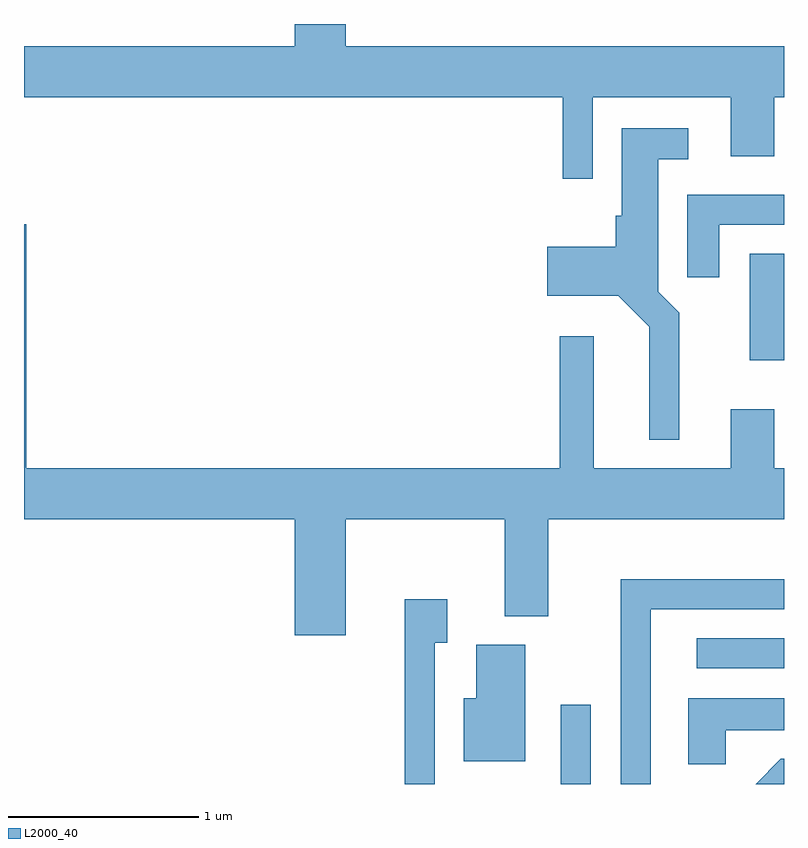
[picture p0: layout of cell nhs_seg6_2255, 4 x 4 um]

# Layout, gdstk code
import gdstk
lib = gdstk.Library(unit=1e-6, precision=1e-09)
def R(c, l, rs):  # rectangles x0, y0, x1, y1
    for r in rs: c.add(gdstk.rectangle(r[:2], r[2:], *l))
def P(c, l, *ps):  # polygons
    for p in ps: c.add(gdstk.Polygon(p, *l))
L2000_40 = (2000, 40)

nhs_seg6_2255 = lib.new_cell('nhs_seg6_2255')
R(nhs_seg6_2255, L2000_40, [(256.436,1584.162,256.594,1584.578), (257.153,1584.771,257.611,1584.929), (257.431,1586.391,257.611,1586.954)])
P(nhs_seg6_2255, L2000_40, [(256.604,1587.776),(257.331,1587.776),(257.331,1587.466),(257.559,1587.466),(257.559,1587.776),(257.611,1587.776),(257.611,1588.044),(255.304,1588.044),(255.304,1588.162),(255.036,1588.162),(255.036,1588.044),(253.611,1588.044),(253.611,1587.776),(256.446,1587.776),(256.446,1587.348),(256.604,1587.348)],
  [(257.059,1586.642),(256.949,1586.752),(256.949,1587.451),(257.108,1587.451),(257.108,1587.614),(256.756,1587.614),(256.756,1587.154),(256.726,1587.154),(256.726,1586.989),(256.366,1586.989),(256.366,1586.731),(256.739,1586.731),(256.901,1586.569),(256.901,1585.973),(257.059,1585.973)],
  [(257.269,1587.106),(257.611,1587.106),(257.611,1587.264),(257.101,1587.264),(257.101,1586.828),(257.269,1586.828)],
  [(255.304,1585.556),(256.141,1585.556),(256.141,1585.046),(256.369,1585.046),(256.369,1585.556),(257.611,1585.556),(257.611,1585.824),(257.559,1585.824),(257.559,1586.134),(257.331,1586.134),(257.331,1585.824),(256.609,1585.824),(256.609,1586.519),(256.431,1586.519),(256.431,1585.824),(253.624,1585.824),(253.624,1587.109),(253.611,1587.109),(253.611,1585.556),(255.036,1585.556),(255.036,1584.946),(255.304,1584.946)],
  [(256.909,1585.081),(257.611,1585.081),(257.611,1585.239),(256.751,1585.239),(256.751,1584.162),(256.909,1584.162)],
  [(255.774,1584.906),(255.839,1584.906),(255.839,1585.134),(255.616,1585.134),(255.616,1584.162),(255.774,1584.162)],
  [(256.249,1584.894),(255.991,1584.894),(255.991,1584.614),(255.926,1584.614),(255.926,1584.281),(256.249,1584.281)],
  [(257.304,1584.446),(257.611,1584.446),(257.611,1584.614),(257.106,1584.614),(257.106,1584.266),(257.304,1584.266)],
  [(257.611,1584.294),(257.594,1584.294),(257.462,1584.162),(257.611,1584.162)])

lib.write_gds('nhs_seg6_2255.gds')
